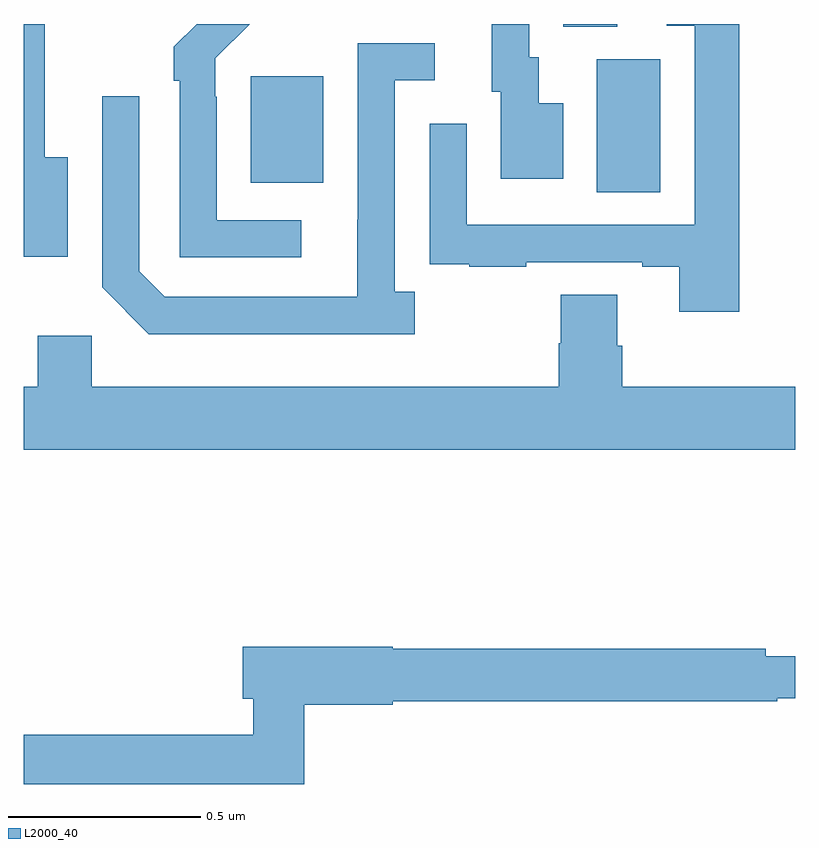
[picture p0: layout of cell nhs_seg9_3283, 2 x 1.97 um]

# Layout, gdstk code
import gdstk
lib = gdstk.Library(unit=1e-6, precision=1e-09)
def R(c, l, rs):  # rectangles x0, y0, x1, y1
    for r in rs: c.add(gdstk.rectangle(r[:2], r[2:], *l))
def P(c, l, *ps):  # polygons
    for p in ps: c.add(gdstk.Polygon(p, *l))
L2000_40 = (2000, 40)

nhs_seg9_3283 = lib.new_cell('nhs_seg9_3283')
R(nhs_seg9_3283, L2000_40, [(152.486,1221.064,152.65,1221.408), (151.589,1221.089,151.777,1221.364), (152.399,1221.493,152.539,1221.5)])
P(nhs_seg9_3283, L2000_40, [(151.72,1220.991),(151.5,1220.991),(151.5,1221.311),(151.497,1221.311),(151.497,1221.411),(151.586,1221.5),(151.448,1221.5),(151.389,1221.441),(151.389,1221.353),(151.404,1221.353),(151.404,1220.895),(151.72,1220.895)],
  [(152.398,1221.295),(152.335,1221.295),(152.335,1221.414),(152.31,1221.414),(152.31,1221.5),(152.213,1221.5),(152.213,1221.324),(152.237,1221.324),(152.237,1221.099),(152.398,1221.099)],
  [(152.855,1221.5),(152.667,1221.5),(152.667,1221.495),(152.739,1221.495),(152.739,1220.979),(152.148,1220.979),(152.148,1221.241),(152.052,1221.241),(152.052,1220.986),(152.053,1220.986),(152.053,1220.877),(152.155,1220.877),(152.155,1220.871),(152.303,1220.871),(152.303,1220.883),(152.603,1220.883),(152.603,1220.871),(152.699,1220.871),(152.699,1220.754),(152.855,1220.754)],
  [(151.114,1221.154),(151.054,1221.154),(151.054,1221.5),(151,1221.5),(151,1220.897),(151.114,1220.897)],
  [(152.014,1220.806),(151.962,1220.806),(151.962,1221.354),(152.065,1221.354),(152.065,1221.45),(151.866,1221.45),(151.866,1220.993),(151.865,1220.993),(151.865,1220.793),(151.365,1220.793),(151.299,1220.859),(151.299,1221.313),(151.203,1221.313),(151.203,1220.817),(151.324,1220.696),(152.014,1220.696)],
  [(153,1220.56),(152.552,1220.56),(152.552,1220.666),(152.539,1220.666),(152.539,1220.798),(152.392,1220.798),(152.392,1220.673),(152.387,1220.673),(152.387,1220.56),(151.176,1220.56),(151.176,1220.692),(151.037,1220.692),(151.037,1220.56),(151,1220.56),(151,1220.396),(153,1220.396)],
  [(151.727,1219.736),(151.956,1219.736),(151.956,1219.744),(152.953,1219.744),(152.953,1219.752),(153,1219.752),(153,1219.861),(152.924,1219.861),(152.924,1219.88),(151.956,1219.88),(151.956,1219.886),(151.568,1219.886),(151.568,1219.751),(151.595,1219.751),(151.595,1219.658),(151,1219.658),(151,1219.53),(151.727,1219.53)])

lib.write_gds('nhs_seg9_3283.gds')
